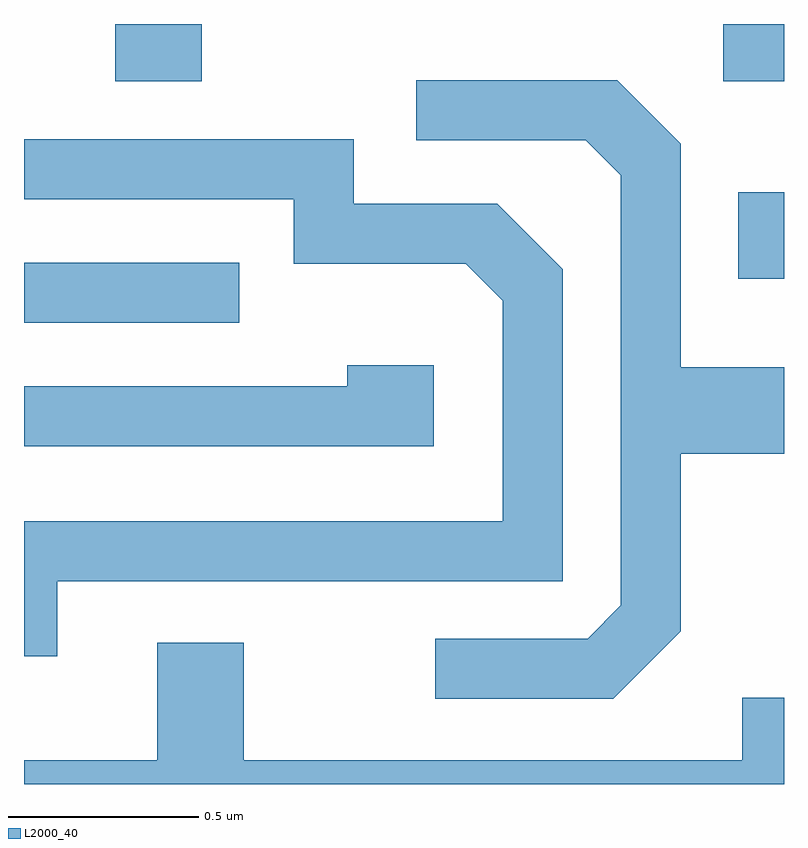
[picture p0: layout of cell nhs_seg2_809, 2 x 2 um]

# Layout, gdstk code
import gdstk
lib = gdstk.Library(unit=1e-6, precision=1e-09)
def R(c, l, rs):  # rectangles x0, y0, x1, y1
    for r in rs: c.add(gdstk.rectangle(r[:2], r[2:], *l))
def P(c, l, *ps):  # polygons
    for p in ps: c.add(gdstk.Polygon(p, *l))
L2000_40 = (2000, 40)

nhs_seg2_809 = lib.new_cell('nhs_seg2_809')
R(nhs_seg2_809, L2000_40, [(190.611,1103.016,191.178,1103.174), (192.491,1103.131,192.611,1103.359), (190.851,1103.651,191.079,1103.802), (192.451,1103.651,192.611,1103.802)])
P(nhs_seg2_809, L2000_40, [(192.339,1102.204),(192.339,1102.671),(192.611,1102.671),(192.611,1102.899),(192.339,1102.899),(192.339,1103.487),(192.172,1103.654),(191.643,1103.654),(191.643,1103.496),(192.089,1103.496),(192.181,1103.404),(192.181,1102.272),(192.094,1102.184),(191.693,1102.184),(191.693,1102.026),(192.162,1102.026)],
  [(190.699,1102.336),(192.029,1102.336),(192.029,1103.157),(191.857,1103.329),(191.479,1103.329),(191.479,1103.499),(190.611,1103.499),(190.611,1103.341),(191.321,1103.341),(191.321,1103.171),(191.774,1103.171),(191.871,1103.074),(191.871,1102.494),(190.611,1102.494),(190.611,1102.138),(190.699,1102.138)],
  [(191.689,1102.904),(191.461,1102.904),(191.461,1102.849),(190.611,1102.849),(190.611,1102.691),(191.689,1102.691)],
  [(192.611,1102.029),(192.501,1102.029),(192.501,1101.864),(191.189,1101.864),(191.189,1102.174),(190.961,1102.174),(190.961,1101.864),(190.611,1101.864),(190.611,1101.802),(192.611,1101.802)])

lib.write_gds('nhs_seg2_809.gds')
